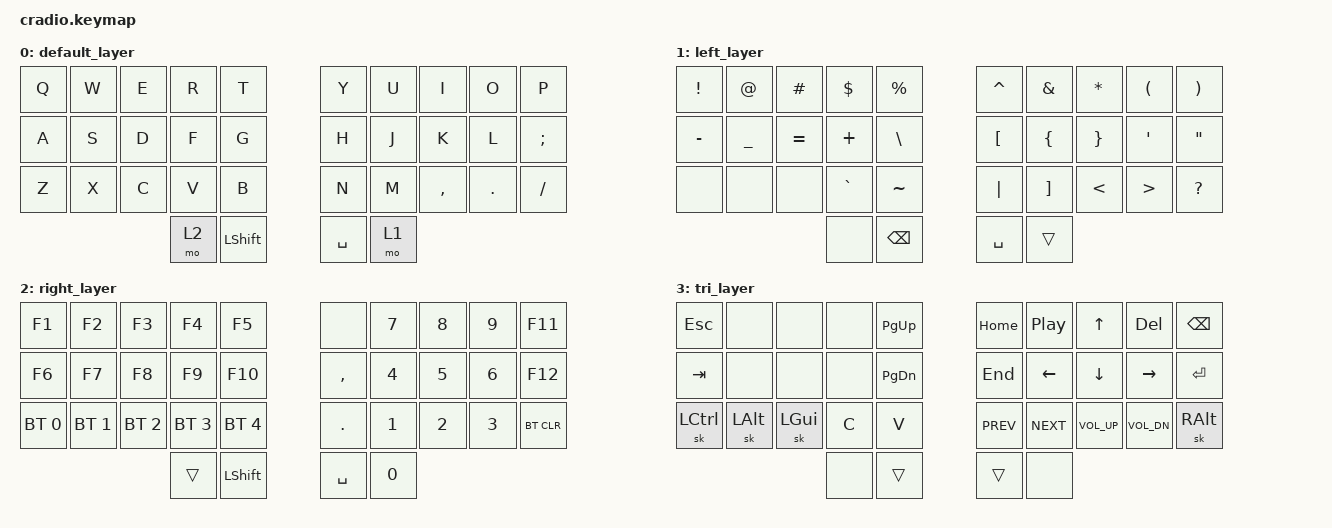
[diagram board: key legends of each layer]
/*
 * Copyright (c) 2020 The ZMK Contributors
 *
 * SPDX-License-Identifier: MIT
 */

#include <behaviors.dtsi>
#include <dt-bindings/zmk/keys.h>
#include <dt-bindings/zmk/bt.h>


&mt {
    flavor = "hold-preferred";
    tapping_term_ms = <200>;
};

/ { 

    combos {
        compatible = "zmk,combos";
	/*
        combo_esc 
        {
            timeout-ms = <500>;
            key-positions = <0 1>;
            bindings = <&kp ESC>;
        };
        
        combo_tab 
        {
            timeout-ms = <500>;
            key-positions = <10 11>;
            bindings = <&kp TAB>;
	    layers = <0 1 2>;
        };
        
        combo_vol_plus
        {
            timeout-ms = <500>;
            key-positions = <2 3>;
            bindings = <&kp C_VOL_UP>;
	    layers = <2>;
        };

        combo_play_pause
        {
            timeout-ms = <500>;
            key-positions = <11 12>;
            bindings = <&kp C_PLAY_PAUSE>;
	    layers = <0 2>;
        };

        combo_previous
        {
            timeout-ms = <500>;
            key-positions = <12 13>;
            bindings = <&kp C_PREV>;
	    layers = <2>;
        };

        combo_next
        {
            timeout-ms = <500>;
            key-positions = <13 14>;
            bindings = <&kp C_NEXT>;
	    layers = <2>;
        };

        combo_vol_minus
        {
            timeout-ms = <500>;
            key-positions = <22 23>;
            bindings = <&kp C_VOLUME_DOWN>;
	    layers = <2>;
        };

        combo_backspace
        {
            timeout-ms = <500>;
            key-positions = <8 9>;
            bindings = <&kp BSPC>;
        };

        combo_up
        {
            timeout-ms = <500>;
            key-positions = <7 8>;
            bindings = <&kp UP>;
        };

        combo_down
        {
            timeout-ms = <500>;
            key-positions = <17 18>;
            bindings = <&kp DOWN>;
        };

        combo_left
        {
            timeout-ms = <500>;
            key-positions = <16 17>;
            bindings = <&kp LEFT>;
        };

        combo_right
        {
            timeout-ms = <500>;
            key-positions = <18 19>;
            bindings = <&kp RIGHT>;
        };

        combo_enter
        {
            timeout-ms = <500>;
            key-positions = <17 18 19>;
            bindings = <&kp ENTER>;
        };
	*/
	
	combo_trilayer
        {
            timeout-ms = <500>;
            key-positions = <31 32>;
            bindings = <&mo 3>;
        };
	
	/*
	combo_numrow_1
        {
            timeout-ms = <100>;
            key-positions = <20 21>;
            bindings = <&kp NUMBER_1>;
	    layers = <3>;
        };
	
	combo_numrow_2
        {
            timeout-ms = <100>;
            key-positions = <21 22>;
            bindings = <&kp NUMBER_2>;
	    layers = <3>;
        };
	
	combo_numrow_3
        {
            timeout-ms = <100>;
            key-positions = <22 23>;
            bindings = <&kp NUMBER_3>;
	    layers = <3>;
        };
	
	combo_numrow_4
        {
            timeout-ms = <100>;
            key-positions = <23 24>;
            bindings = <&kp NUMBER_4>;
	    layers = <3>;
        };
	
	combo_numrow_5
        {
            timeout-ms = <100>;
            key-positions = <20 21 22>;
            bindings = <&kp NUMBER_5>;
	    layers = <3>;
        };
	
	combo_numrow_6
        {
            timeout-ms = <100>;
            key-positions = <21 22 23>;
            bindings = <&kp NUMBER_6>;
	    layers = <3>;
        };
	
	combo_numrow_7
        {
            timeout-ms = <100>;
            key-positions = <22 23 24>;
            bindings = <&kp NUMBER_7>;
	    layers = <3>;
        };
	
	combo_bluetooth_clear
        {
            timeout-ms = <200>;
            key-positions = <20 21 28 29>;
            bindings = <&bt BT_CLR>;
	    layers = <2>;
        };
	
	combo_bluetooth_0
        {
            timeout-ms = <200>;
            key-positions = <20 21>;
            bindings = <&bt BT_SEL 0>;
	    layers = <2>;
        };
	
	combo_bluetooth_1
        {
            timeout-ms = <200>;
            key-positions = <21 22>;
            bindings = <&bt BT_SEL 1>;
	    layers = <2>;
        };
	
	combo_bluetooth_2
        {
            timeout-ms = <200>;
            key-positions = <22 23>;
            bindings = <&bt BT_SEL 2>;
	    layers = <2>;
        };
	
	combo_bluetooth_3
        {
            timeout-ms = <200>;
            key-positions = <23 24>;
            bindings = <&bt BT_SEL 3>;
	    layers = <2>;
        };
	
	combo_bluetooth_4
        {
            timeout-ms = <200>;
            key-positions = <24 25>;
            bindings = <&bt BT_SEL 4>;
	    layers = <2>;
        };
	
	combo_lgui 
        {
            timeout-ms = <500>;
            key-positions = <28 29>;
            bindings = <&kp LGUI>;
	    layers = <0 1 2>;
        };
	
	combo_lalt 
        {
            timeout-ms = <500>;
            key-positions = <25 26>;
            bindings = <&kp LALT>;
	    layers = <0 1 2>;
        };
	
	combo_lctrl 
        {
            timeout-ms = <500>;
            key-positions = <27 28 29>;
            bindings = <&kp LCTRL>;
	    layers = <0 1 2>;
        };
	
	combo_ralt 
        {
            timeout-ms = <500>;
            key-positions = <5 6>;
            bindings = <&kp RALT>;
	    layers = <0 1 2>;
        };
	*/

        
    };

        keymap {
                compatible = "zmk,keymap";
                
        default_layer
        {
      
            //  | Q      | W      | E      | R     | T          |       | Y           | U     | I     | O      | P     |
            //  | A      | S      | D      | F     | G          |       | H           | J     | K     | L      | SEMI  |
            //  | Z      | X      | C      | V     | B          |       | N           | M     | COMMA | PERIOD | SLASH |
            //                             | TG(2) | LSHFT_BPSC | TG(3) | RSHFT_SPACE | TG(1) |
                
            bindings = <
            &kp Q  &kp W  &kp E  &kp R   &kp T                  &kp Y      &kp U  &kp I      &kp O       &kp P
            &kp A  &kp S  &kp D  &kp F   &kp G                  &kp H      &kp J  &kp K      &kp L       &kp SEMI
            &kp Z  &kp X  &kp C  &kp V   &kp B                  &kp N      &kp M  &kp COMMA  &kp PERIOD  &kp FSLH
                                 &mo 2   &kp LSHFT              &kp SPACE  &mo 1
            >;

        };

        left_layer
        {
            
            //  |  EXCL   |  AT          |  POUND  |  DLLR  | PRCNT |           | CARET | AMPS  | ASTRK | LPAR | RPAR  |
            //  |  MINUS  |  UNDERSCORE  |  EQUAL  |  PLUS  | BSLH  |           | LBKT  | LBRC  | RBRC  | SQT  | DQT   |
            //  |  NONE   |  NONE        |  NONE   |  GRAVE | TILDE |           | PIPE  | RBKT  | LT    | GT   | QMARK |
            //                                     |  TG(1) | BPSC  |           | SPACE | TRANS |
                
            bindings = <
            &kp EXCL   &kp AT           &kp POUND  &kp DLLR    &kp PRCNT         &kp CARET  &kp AMPS   &kp ASTRK  &kp LPAR  &kp RPAR 
            &kp MINUS  &kp UNDERSCORE   &kp EQUAL  &kp PLUS    &kp BSLH          &kp LBKT   &kp LBRC   &kp RBRC   &kp SQT   &kp DQT 
            &none      &none            &none      &kp GRAVE   &kp TILDE         &kp PIPE   &kp RBKT   &kp LT     &kp GT    &kp QMARK 
                                                   &none       &kp BSPC          &kp SPACE  &trans
            >;

        };
        
        right_layer
        {
        
            //  |  F1  |  F2  |  F3   |  F4    |  F5    |                            |  NONE   |  7  |  8  |  9  |  F11  |
            //  |  F6  |  F7  |  F8   |  F9    |  F10   |                            |  COMMA  |  4  |  5  |  6  |  F12  |
            //  |  BT0 |  BT1 |  BT2  |  BT3   |  BT4   |                            |  DOT    |  1  |  2  |  3  |  BTX  |
            //                        |  NONE  |  LSHF  |                            |  SPACE  |  0  |
                
            bindings = <
            &kp F1        &kp F2        &kp F3        &kp F4        &kp F5                &none            &kp NUMBER_7   &kp NUMBER_8   &kp NUMBER_9   &kp F11 
            &kp F6        &kp F7        &kp F8        &kp F9        &kp F10               &kp COMMA        &kp NUMBER_4   &kp NUMBER_5   &kp NUMBER_6   &kp F12
            &bt BT_SEL 0  &bt BT_SEL 1  &bt BT_SEL 2  &bt BT_SEL 3  &bt BT_SEL 4          &kp DOT          &kp NUMBER_1   &kp NUMBER_2   &kp NUMBER_3   &bt BT_CLR
	                                              &trans        &kp LSHFT             &kp SPACE        &kp NUMBER_0
            >;

        }; 


        
        tri_layer 
        {
        
            //  |  ESC    |  MBR   |  MUP   |  MBL   |  PG_UP  |          |  HOME   |  INSERT  |  UP     |  DEL    |  BSPC   |
            //  |  TAB    |  MLF   |  MDN   |  MRT   |  PF_DN  |          |  END    |  LEFT    |  DOWN   |  RIGHT  |  ENTER  |
            //  |  LCTRL  |  LALT  |  LGUI  |  C     |  V      |          |  NEXT   |  PREV    |  VOLUP  |  VOLDN  |  RALT   |
            //                              |  NONE  |  TRANS  |          |  TRANS  |  NONE    |
                
            bindings = <
            &kp ESC    &none     &none     &none   &kp PG_UP       &kp HOME      &kp C_PP      &kp UP        &kp DEL       &kp BSPC
            &kp TAB    &none     &none     &none   &kp PG_DN       &kp END       &kp LEFT      &kp DOWN      &kp RIGHT     &kp ENTER 
            &sk LCTRL  &sk LALT  &sk LGUI  &kp C   &kp V           &kp C_PREV    &kp C_NEXT    &kp C_VOL_UP  &kp C_VOL_DN  &sk RALT   
                                           &none   &trans          &trans        &none
            >;

        };  	
        
	};
};
